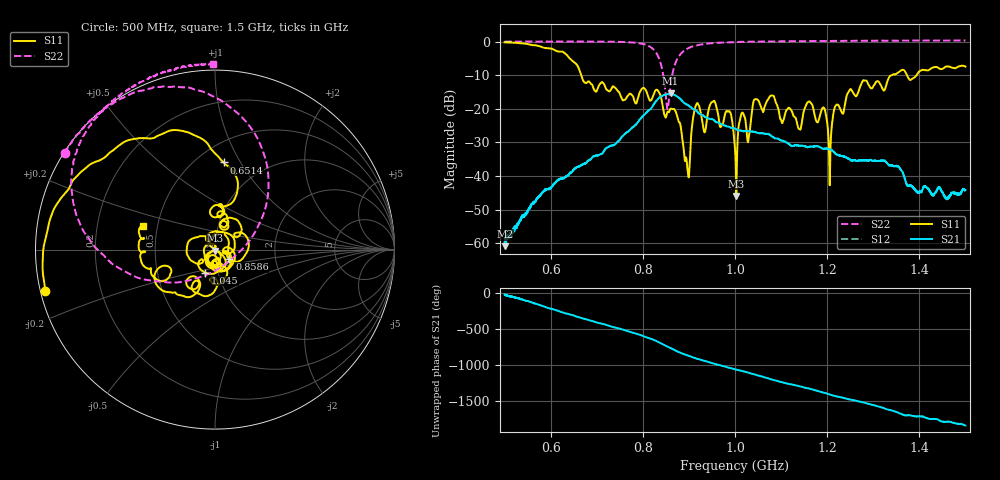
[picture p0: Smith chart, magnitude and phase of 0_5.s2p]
!Keysight Technologies,N5242B,MY48420860,A.13.80.08
!Date: Saturday, September 26, 2020 11:27:11
!Correction: S11(Full 2 Port(1,2))
!S21(Full 2 Port(1,2))
!S12(Full 2 Port(1,2))
!S22(Full 2 Port(1,2))
!S2P File: Measurements: S11, S21, S12, S22:
# Hz S  dB  R 50
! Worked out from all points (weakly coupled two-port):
!   2650 points, 500 MHz to 1.5 GHz, reference 50 ohm
!   highest |S21| = -15.43 dB at 860.1 MHz (marker M1); lowest = -60.9 dB at 500.4 MHz (marker M2)
!   lowest |S11| = -45.9 dB at 1.003 GHz (marker M3), VSWR 1.01, Z = 50 - j0.505 ohm
!   |S11| at or under -10 dB: 666.3 MHz to 1.34 GHz (674.1 MHz wide, 67.2 % of centre); 1.373 GHz to 1.394 GHz (20.84 MHz wide, 1.51 % of centre)
!   |S22| runs from -20.2 to 0.3 dB; largest |S21 - S12| = 0.00051
!   S11 on the Smith chart (normalised r, x): 500 MHz: 0.01, -0.12; 651.4 MHz: 0.67, +0.85; 858.6 MHz: 1.17, -0.12; 1.045 GHz: 0.87, -0.23; 1.5 GHz: 0.41, +0.14
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5e8  -0.24 -166.3  -59.78 -20.0  -60.29 -23.1  -0.03 147.2
5.003775e8  -0.24 -166.5  -60.86 -19.5  -60.51 -21.8  -0.03 147.2
6.030578e8  -2.17 128.7  -43.11 140.2  -43.08 139.5  -0.01 138.9
6.513779e8  -6.23 84.4  -37.98 45.3  -37.91 45.3  0.00 134.3
6.668554e8  -10.24 68.7  -36.63 13.7  -36.74 13.4  -0.01 132.5
8.337108e8  -14.79 -1.6  -16.98 39.8  -16.98 39.7  -4.57 62.2
8.586259e8  -20.33 -33.0  -15.48 -39.7  -15.49 -39.7  -14.71 -121.2
8.601359e8  -19.97 -40.1  -15.43 -45.0  -15.45 -45.0  -12.95 -130.4
8.967535e8  -37.76 76.1  -18.84 -146.4  -18.86 -146.5  -2.07 166.9
9.178935e8  -18.31 36.2  -20.81 166.0  -20.82 166.0  -1.09 155.4
9.873537e8  -20.70 -110.2  -25.35 41.7  -25.35 41.7  -0.23 137.4
1.000189e9  -32.21 -153.2  -25.90 19.6  -25.93 19.6  -0.17 135.5
1.002831e9  -45.93 -91.8  -26.13 14.3  -26.12 14.3  -0.17 135.0
1.013024e9  -21.99 -78.4  -26.48 -0.8  -26.52 -0.8  -0.09 133.6
1.029256e9  -29.07 -87.8  -26.68 -27.6  -26.69 -27.8  -0.06 131.2
1.045489e9  -17.12 -113.6  -27.01 -57.6  -27.02 -57.5  -0.03 129.7
1.139487e9  -26.06 -18.7  -31.00 145.1  -30.99 145.5  0.14 120.5
1.166667e9  -18.63 -89.7  -31.24 101.7  -31.23 101.6  0.13 118.0
1.205549e9  -42.77 -91.4  -32.11 29.9  -32.11 29.6  0.16 114.7
1.247829e9  -14.70 -78.0  -34.98 -37.9  -34.90 -37.5  0.20 111.3
1.333522e9  -10.88 -115.7  -36.70 176.6  -36.77 176.1  0.27 104.6
1.5e9  -7.45 161.6  -44.14 -41.3  -44.20 -39.4  0.29 90.6
